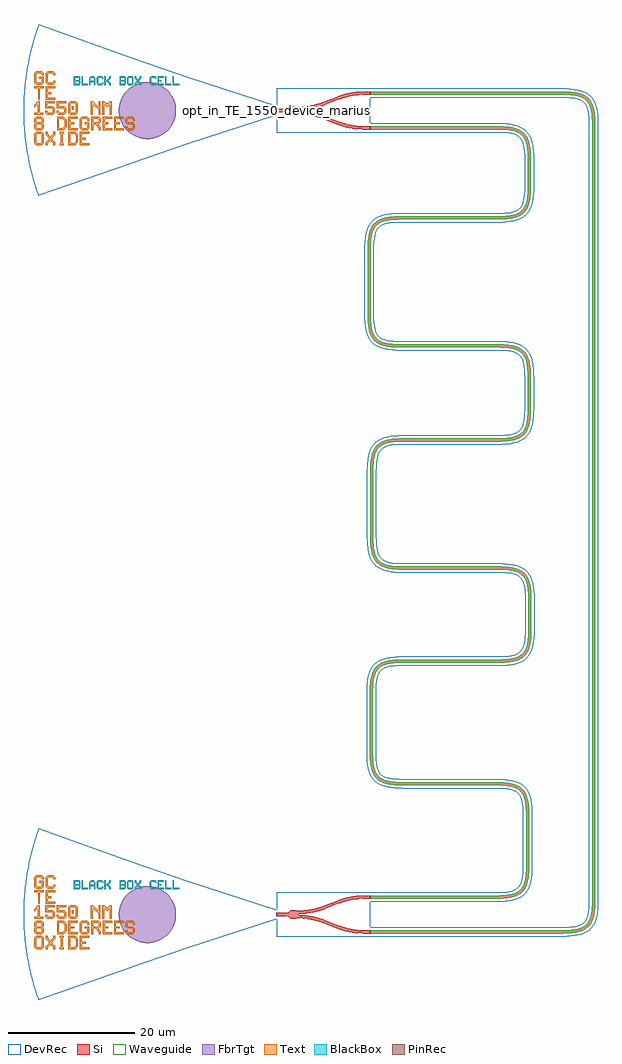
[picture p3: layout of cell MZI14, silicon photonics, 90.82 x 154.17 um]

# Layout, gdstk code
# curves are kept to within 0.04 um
import gdstk
lib = gdstk.Library(unit=1e-6, precision=1e-09)
def R(c, l, rs):  # rectangles x0, y0, x1, y1
    for r in rs: c.add(gdstk.rectangle(r[:2], r[2:], *l))
def P(c, l, *ps):  # polygons
    for p in ps: c.add(gdstk.Polygon(p, *l))
Si = (1, 0)
PinRec = (1, 10)
Waveguide = (1, 99)
Text = (10, 0)
DevRec = (68, 0)
FbrTgt = (81, 0)
BlackBox = (998, 0)

text_1 = lib.new_cell('TEXT$1')
P(text_1, BlackBox, [(0,0),(0,1.4),(0.8,1.4),(1,1.2),(0.2,1.2),(0.2,0.8),(0.7,0.8),(0.8,0.9),(0.8,1.1),(0.7,1.2),(1,1.2),(1,0.8),(0.9,0.7),(1,0.6),(0.2,0.6),(0.2,0.2),(0.7,0.2),(0.8,0.3),(0.8,0.5),(0.7,0.6),(1,0.6),(1,0.2),(0.8,0)],
  [(1.2,0),(1.2,1.4),(1.4,1.4),(1.4,0.2),(2.2,0.2),(2.2,0)],
  [(2.4,0),(2.4,1.1),(2.7,1.4),(3.1,1.4),(3.3,1.2),(2.8,1.2),(2.6,1),(2.6,0.7),(3.2,0.7),(3.2,1),(3,1.2),(3.3,1.2),(3.4,1.1),(3.4,0),(3.2,0),(3.2,0.5),(2.6,0.5),(2.6,0)],
  [(3.8,0),(3.6,0.2),(3.6,1.2),(3.8,1.4),(4.4,1.4),(4.6,1.2),(4.6,1),(4.4,1),(4.4,1.1),(4.3,1.2),(3.9,1.2),(3.8,1.1),(3.8,0.3),(3.9,0.2),(4.3,0.2),(4.4,0.3),(4.4,0.4),(4.6,0.4),(4.6,0.2),(4.4,0)],
  [(4.8,0),(4.8,1.4),(5,1.4),(5,0.8),(5.2,0.8),(5.6,1.2),(5.6,1.4),(5.8,1.4),(5.8,1.1),(5.4,0.7),(5.8,0.3),(5.8,0),(5.6,0),(5.6,0.2),(5.2,0.6),(5,0.6),(5,0)],
  [(7.2,0),(7.2,1.4),(8,1.4),(8.2,1.2),(7.4,1.2),(7.4,0.8),(7.9,0.8),(8,0.9),(8,1.1),(7.9,1.2),(8.2,1.2),(8.2,0.8),(8.1,0.7),(8.2,0.6),(7.4,0.6),(7.4,0.2),(7.9,0.2),(8,0.3),(8,0.5),(7.9,0.6),(8.2,0.6),(8.2,0.2),(8,0)],
  [(8.6,0),(8.4,0.2),(8.4,1.2),(8.6,1.4),(9.2,1.4),(9.4,1.2),(9.4,0.7),(9.2,0.7),(9.2,1.1),(9.1,1.2),(8.7,1.2),(8.6,1.1),(8.6,0.3),(8.7,0.2),(9.1,0.2),(9.2,0.3),(9.2,0.7),(9.4,0.7),(9.4,0.2),(9.2,0)],
  [(9.6,0),(9.6,0.3),(9.9,0.6),(9.9,0.8),(9.6,1.1),(9.6,1.4),(9.8,1.4),(9.8,1.2),(10.1,0.9),(10.4,1.2),(10.4,1.4),(10.6,1.4),(10.6,1.1),(10.3,0.8),(10.3,0.6),(10.6,0.3),(10.6,0),(10.4,0),(10.4,0.2),(10.1,0.5),(9.8,0.2),(9.8,0)],
  [(12.2,0),(12,0.2),(12,1.2),(12.2,1.4),(12.8,1.4),(13,1.2),(13,1),(12.8,1),(12.8,1.1),(12.7,1.2),(12.3,1.2),(12.2,1.1),(12.2,0.3),(12.3,0.2),(12.7,0.2),(12.8,0.3),(12.8,0.4),(13,0.4),(13,0.2),(12.8,0)],
  [(13.2,0),(13.2,1.4),(14.2,1.4),(14.2,1.2),(13.4,1.2),(13.4,0.8),(13.8,0.8),(13.8,0.6),(13.4,0.6),(13.4,0.2),(14.2,0.2),(14.2,0)],
  [(14.4,0),(14.4,1.4),(14.6,1.4),(14.6,0.2),(15.4,0.2),(15.4,0)],
  [(15.6,0),(15.6,1.4),(15.8,1.4),(15.8,0.2),(16.6,0.2),(16.6,0)])

gc_te_1550_8degoxide_bb = lib.new_cell('GC_TE_1550_8degOxide_BB')
R(gc_te_1550_8degoxide_bb, Text, [(-32.313,0.092,-32.013,0.692)])
P(gc_te_1550_8degoxide_bb, Text, [(-37.67,1.71),(-37.67,3.51),(-38.27,3.51),(-38.27,3.81),(-36.77,3.81),(-36.77,3.51),(-37.37,3.51),(-37.37,1.71)],
  [(-37.97,-5.49),(-38.27,-5.19),(-38.27,-3.69),(-37.97,-3.39),(-37.07,-3.39),(-36.77,-3.69),(-36.77,-4.44),(-37.07,-4.44),(-37.07,-3.84),(-37.22,-3.69),(-37.82,-3.69),(-37.97,-3.84),(-37.97,-5.04),(-37.82,-5.19),(-37.22,-5.19),(-37.07,-5.04),(-37.07,-4.44),(-36.77,-4.44),(-36.77,-5.19),(-37.07,-5.49)],
  [(-31.07,-5.49),(-31.07,-3.39),(-29.57,-3.39),(-29.57,-3.69),(-30.77,-3.69),(-30.77,-4.29),(-30.17,-4.29),(-30.17,-4.59),(-30.77,-4.59),(-30.77,-5.19),(-29.57,-5.19),(-29.57,-5.49)],
  [(-32.87,-3.09),(-32.87,-0.99),(-31.37,-0.99),(-31.37,-1.29),(-32.57,-1.29),(-32.57,-1.89),(-31.97,-1.89),(-31.97,-2.19),(-32.57,-2.19),(-32.57,-2.79),(-31.37,-2.79),(-31.37,-3.09)],
  [(-27.47,-3.09),(-27.47,-0.99),(-25.97,-0.99),(-25.97,-1.29),(-27.17,-1.29),(-27.17,-1.89),(-26.57,-1.89),(-26.57,-2.19),(-27.17,-2.19),(-27.17,-2.79),(-25.97,-2.79),(-25.97,-3.09)],
  [(-25.67,-3.09),(-25.67,-0.99),(-24.17,-0.99),(-24.17,-1.29),(-25.37,-1.29),(-25.37,-1.89),(-24.77,-1.89),(-24.77,-2.19),(-25.37,-2.19),(-25.37,-2.79),(-24.17,-2.79),(-24.17,-3.09)],
  [(-36.47,1.71),(-36.47,3.81),(-34.97,3.81),(-34.97,3.51),(-36.17,3.51),(-36.17,2.91),(-35.57,2.91),(-35.57,2.61),(-36.17,2.61),(-36.17,2.01),(-34.97,2.01),(-34.97,1.71)],
  [(-29.313,-0.658),(-29.313,1.442),(-29.013,1.442),(-28.263,0.692),(-28.113,0.692),(-28.113,1.442),(-27.813,1.442),(-27.813,-0.658),(-28.113,-0.658),(-28.113,0.092),(-28.863,0.842),(-29.013,0.842),(-29.013,-0.658)],
  [(-34.22,-5.49),(-34.22,-5.19),(-34.07,-5.19),(-34.07,-3.69),(-34.22,-3.69),(-34.22,-3.39),(-33.62,-3.39),(-33.62,-3.69),(-33.77,-3.69),(-33.77,-5.19),(-33.62,-5.19),(-33.62,-5.49)],
  [(-36.17,4.11),(-36.47,4.41),(-36.47,5.91),(-36.17,6.21),(-35.27,6.21),(-34.97,5.91),(-34.97,5.61),(-35.27,5.61),(-35.27,5.76),(-35.42,5.91),(-36.02,5.91),(-36.17,5.76),(-36.17,4.56),(-36.02,4.41),(-35.42,4.41),(-35.27,4.56),(-35.27,4.71),(-34.97,4.71),(-34.97,4.41),(-35.27,4.11)],
  [(-27.513,-0.658),(-27.513,1.442),(-27.213,1.442),(-26.913,1.142),(-26.613,1.142),(-26.313,1.442),(-26.013,1.442),(-26.013,-0.658),(-26.313,-0.658),(-26.313,0.842),(-26.463,0.842),(-26.763,0.542),(-27.063,0.842),(-27.213,0.842),(-27.213,-0.658)],
  [(-32.613,-0.658),(-32.913,-0.358),(-32.913,1.142),(-32.613,1.442),(-31.713,1.442),(-31.413,1.142),(-32.463,1.142),(-32.613,0.992),(-32.613,-0.208),(-32.463,-0.358),(-31.863,-0.358),(-31.713,-0.208),(-31.713,0.992),(-31.863,1.142),(-31.413,1.142),(-31.413,-0.358),(-31.713,-0.658)],
  [(-32.87,-5.49),(-32.87,-3.39),(-31.82,-3.39),(-31.52,-3.69),(-32.57,-3.69),(-32.57,-5.19),(-31.97,-5.19),(-31.67,-4.89),(-31.67,-3.99),(-31.97,-3.69),(-31.52,-3.69),(-31.37,-3.84),(-31.37,-5.04),(-31.82,-5.49)],
  [(-34.67,-3.09),(-34.67,-0.99),(-33.62,-0.99),(-33.32,-1.29),(-34.37,-1.29),(-34.37,-2.79),(-33.77,-2.79),(-33.47,-2.49),(-33.47,-1.59),(-33.77,-1.29),(-33.32,-1.29),(-33.17,-1.44),(-33.17,-2.64),(-33.62,-3.09)],
  [(-23.57,-3.09),(-23.87,-2.79),(-23.87,-2.49),(-23.57,-2.49),(-23.57,-2.64),(-23.42,-2.79),(-22.82,-2.79),(-22.67,-2.64),(-22.67,-2.34),(-22.82,-2.19),(-23.57,-2.19),(-23.87,-1.89),(-23.87,-1.29),(-23.57,-0.99),(-22.67,-0.99),(-22.37,-1.29),(-22.37,-1.59),(-22.67,-1.59),(-22.67,-1.44),(-22.82,-1.29),(-23.42,-1.29),(-23.57,-1.44),(-23.57,-1.74),(-23.42,-1.89),(-22.67,-1.89),(-22.37,-2.19),(-22.37,-2.79),(-22.67,-3.09)],
  [(-36.213,-0.658),(-36.513,-0.358),(-36.513,-0.058),(-36.213,-0.058),(-36.213,-0.208),(-36.063,-0.358),(-35.463,-0.358),(-35.313,-0.208),(-35.313,0.242),(-35.463,0.392),(-36.513,0.392),(-36.513,1.442),(-35.013,1.442),(-35.013,1.142),(-36.213,1.142),(-36.213,0.692),(-35.313,0.692),(-35.013,0.392),(-35.013,-0.358),(-35.313,-0.658)],
  [(-34.413,-0.658),(-34.713,-0.358),(-34.713,-0.058),(-34.413,-0.058),(-34.413,-0.208),(-34.263,-0.358),(-33.663,-0.358),(-33.513,-0.208),(-33.513,0.242),(-33.663,0.392),(-34.713,0.392),(-34.713,1.442),(-33.213,1.442),(-33.213,1.142),(-34.413,1.142),(-34.413,0.692),(-33.513,0.692),(-33.213,0.392),(-33.213,-0.358),(-33.513,-0.658)],
  [(-37.97,-3.09),(-38.27,-2.79),(-38.27,-2.19),(-38.12,-2.04),(-38.27,-1.89),(-38.27,-1.29),(-37.97,-0.99),(-37.07,-0.99),(-36.77,-1.29),(-37.82,-1.29),(-37.97,-1.44),(-37.97,-1.74),(-37.82,-1.89),(-37.22,-1.89),(-37.07,-1.74),(-37.07,-1.44),(-37.22,-1.29),(-36.77,-1.29),(-36.77,-1.89),(-36.92,-2.04),(-36.77,-2.19),(-37.82,-2.19),(-37.97,-2.34),(-37.97,-2.64),(-37.82,-2.79),(-37.22,-2.79),(-37.07,-2.64),(-37.07,-2.34),(-37.22,-2.19),(-36.77,-2.19),(-36.77,-2.79),(-37.07,-3.09)],
  [(-38.313,-0.658),(-38.313,-0.358),(-37.713,-0.358),(-37.713,0.842),(-37.863,0.842),(-38.163,0.542),(-38.313,0.542),(-38.313,0.842),(-37.713,1.442),(-37.413,1.442),(-37.413,-0.358),(-36.813,-0.358),(-36.813,-0.658)],
  [(-36.47,-5.49),(-36.47,-5.04),(-36.02,-4.59),(-36.02,-4.29),(-36.47,-3.84),(-36.47,-3.39),(-36.17,-3.39),(-36.17,-3.69),(-35.72,-4.14),(-35.27,-3.69),(-35.27,-3.39),(-34.97,-3.39),(-34.97,-3.84),(-35.42,-4.29),(-35.42,-4.59),(-34.97,-5.04),(-34.97,-5.49),(-35.27,-5.49),(-35.27,-5.19),(-35.72,-4.74),(-36.17,-5.19),(-36.17,-5.49)],
  [(-30.77,-3.09),(-31.07,-2.79),(-31.07,-1.29),(-30.77,-0.99),(-29.87,-0.99),(-29.57,-1.29),(-29.57,-1.59),(-29.87,-1.59),(-29.87,-1.44),(-30.02,-1.29),(-30.62,-1.29),(-30.77,-1.44),(-30.77,-2.64),(-30.62,-2.79),(-30.02,-2.79),(-29.87,-2.64),(-29.87,-2.19),(-30.32,-2.19),(-30.32,-1.89),(-29.57,-1.89),(-29.57,-2.79),(-29.87,-3.09)],
  [(-37.97,4.11),(-38.27,4.41),(-38.27,5.91),(-37.97,6.21),(-37.07,6.21),(-36.77,5.91),(-36.77,5.61),(-37.07,5.61),(-37.07,5.76),(-37.22,5.91),(-37.82,5.91),(-37.97,5.76),(-37.97,4.56),(-37.82,4.41),(-37.22,4.41),(-37.07,4.56),(-37.07,5.01),(-37.52,5.01),(-37.52,5.31),(-36.77,5.31),(-36.77,4.41),(-37.07,4.11)],
  [(-29.27,-3.09),(-29.27,-0.99),(-28.07,-0.99),(-27.77,-1.29),(-28.97,-1.29),(-28.97,-1.89),(-28.22,-1.89),(-28.07,-1.74),(-28.07,-1.44),(-28.22,-1.29),(-27.77,-1.29),(-27.77,-1.89),(-28.07,-2.19),(-28.07,-2.34),(-27.77,-2.64),(-27.77,-3.09),(-28.07,-3.09),(-28.07,-2.79),(-28.67,-2.19),(-28.97,-2.19),(-28.97,-3.09)])
P(gc_te_1550_8degoxide_bb, DevRec, [(-37.607,-13.5),(-38.627,-10.245),(-39.378,-6.832),(-39.647,-5.058),(-39.835,-3.274),(-39.969,0.224),(-39.812,3.541),(-39.331,7.097),(-38.557,10.505),(-37.546,13.669),(-22.8,8.353),(-14.109,5.36),(0,0.75),(0,-0.75),(-14.109,-5.36)])
P(gc_te_1550_8degoxide_bb, FbrTgt, [(-20.621,-4.5),(-21.495,-4.37),(-22.326,-4.073),(-23.084,-3.619),(-23.738,-3.026),(-24.264,-2.316),(-24.642,-1.518),(-24.857,-0.661),(-24.9,0.221),(-24.77,1.095),(-24.473,1.926),(-24.019,2.684),(-23.426,3.338),(-22.716,3.864),(-21.918,4.242),(-21.061,4.457),(-20.179,4.5),(-19.305,4.37),(-18.474,4.073),(-17.716,3.619),(-17.062,3.026),(-16.536,2.316),(-16.158,1.518),(-15.943,0.661),(-15.9,-0.221),(-16.03,-1.095),(-16.327,-1.926),(-16.781,-2.684),(-17.374,-3.338),(-18.084,-3.864),(-18.882,-4.242),(-19.739,-4.457)])
gc_te_1550_8degoxide_bb.add(gdstk.FlexPath([(-0.01,0),(0.01,0)], 0.5, ends="flush", simple_path=True, layer=1, datatype=10))  # PinRec
gc_te_1550_8degoxide_bb.add(gdstk.Reference(text_1, (-32,4)))
gc_te_1550_8degoxide_bb.add(gdstk.Label('opt1', (0,0), layer=1, texttype=10))
gc_te_1550_8degoxide_bb.add(gdstk.Label('Component=GC_TE_1550_8degOxide_BB', (-28,-5), layer=68, texttype=0))

ebeam_y_1550 = lib.new_cell('ebeam_y_1550')
R(ebeam_y_1550, Si, [(6.5,-3,7.4,-2.5), (-7.4,-0.25,-6,0.25), (6.5,2.5,7.4,3)])
P(ebeam_y_1550, Si, [(6.458,-3),(6.237,-2.997),(6.237,-2.497),(6.5,-2.5),(6.5,-3)],
  [(5.033,-2.908),(3.59,-2.634),(2.265,-2.21),(2.445,-1.744),(3.731,-2.154),(5.033,-2.404)],
  [(6.233,-2.997),(5.033,-2.908),(5.033,-2.404),(6.237,-2.497)],
  [(2.265,-2.21),(0.055,-1.356),(0.235,-0.89),(2.445,-1.744)],
  [(-0.762,-1.076),(-2.334,-0.724),(-4,-0.6),(-4,-0.1),(-2.381,-0.212),(-0.762,-0.555)],
  [(0.055,-1.356),(-0.762,-1.076),(-0.762,-0.555),(0.235,-0.89)],
  [(6.237,2.497),(6.237,2.997),(6.5,3),(6.5,2.5)],
  [(2.445,1.744),(2.267,2.211),(3.59,2.634),(5.033,2.908),(5.033,2.404),(3.731,2.154)],
  [(5.033,2.404),(5.033,2.908),(6.237,2.997),(6.237,2.497)],
  [(0.235,0.89),(0.055,1.356),(2.265,2.21),(2.445,1.744)],
  [(-4,0.1),(-4,0.6),(-2.334,0.724),(-0.762,1.076),(-0.762,0.555),(-2.381,0.212)],
  [(-0.762,0.555),(-0.762,1.076),(0.055,1.356),(0.235,0.89)],
  [(-5.122,-0.662),(-5.442,-0.374),(-5.808,-0.255),(-6,-0.25),(-6,0.25),(-5.817,0.253),(-5.442,0.374),(-5.122,0.662)],
  [(-4.957,-0.703),(-5.122,-0.662),(-5.122,0.662),(-4.538,0.703),(-4,0.6),(-4,-0.6),(-4.509,-0.701)])
R(ebeam_y_1550, DevRec, [(-7.4,-3.5,7.4,3.5)])
ebeam_y_1550.add(gdstk.FlexPath([(-7.35,0),(-7.45,0)], 0.5, ends="flush", simple_path=True, layer=1, datatype=10))  # PinRec
ebeam_y_1550.add(gdstk.FlexPath([(7.35,2.75),(7.45,2.75)], 0.5, ends="flush", simple_path=True, layer=1, datatype=10))  # PinRec
ebeam_y_1550.add(gdstk.FlexPath([(7.35,-2.75),(7.45,-2.75)], 0.5, ends="flush", simple_path=True, layer=1, datatype=10))  # PinRec
ebeam_y_1550.add(gdstk.Label('opt2', (7.4,2.75), layer=1, texttype=10))
ebeam_y_1550.add(gdstk.Label('opt3', (7.4,-2.75), layer=1, texttype=10))
ebeam_y_1550.add(gdstk.Label('opt1', (-7.4,0), layer=1, texttype=10))
ebeam_y_1550.add(gdstk.Label('Component=ebeam_y_1550', (-6,1.5), layer=68, texttype=0))
ebeam_y_1550.add(gdstk.Label('Lumerical_INTERCONNECT_library=Design kits/ebeam', (-6.86,-2.19), layer=68, texttype=0))
ebeam_y_1550.add(gdstk.Label('Ref: Y Zhang, Opt. Express, 21/1, 2013', (-7.5,-1), layer=10, texttype=0))

waveguide_21 = lib.new_cell('Waveguide$21')
P(waveguide_21, Si, [(54.769,16),(54.769,16.5),(74.639,16.5),(76.368,16.591),(77.504,16.845),(77.943,17.041),(78.386,17.354),(78.733,17.757),(78.953,18.157),(79.252,19.206),(79.388,21.033),(79.35,30.357),(79.223,31.347),(79.044,32.015),(78.732,32.644),(78.306,33.116),(77.732,33.464),(77.118,33.672),(76.367,33.81),(75.468,33.883),(59.716,33.902),(58.507,33.956),(57.489,34.108),(56.771,34.326),(56.167,34.641),(55.762,34.973),(55.358,35.49),(55.114,35.983),(54.896,36.701),(54.762,37.537),(54.693,38.713),(54.689,48.533),(54.745,49.962),(54.897,50.98),(55.115,51.698),(55.507,52.411),(55.956,52.882),(56.517,53.241),(57.189,53.496),(57.976,53.662),(58.89,53.753),(75.206,53.782),(76.375,53.834),(77.331,53.976),(77.971,54.17),(78.483,54.437),(78.886,54.784),(79.199,55.227),(79.436,55.789),(79.602,56.486),(79.701,57.324),(79.739,58.53),(79.734,63.658),(79.601,65.275),(79.394,66.095),(79.141,66.631),(78.735,67.127),(78.292,67.44),(77.853,67.636),(77.185,67.815),(75.62,67.971),(59.775,67.982),(58.566,68.036),(57.548,68.188),(56.83,68.406),(56.226,68.721),(55.821,69.053),(55.417,69.57),(55.122,70.198),(54.923,70.938),(54.803,71.799),(54.749,73.009),(54.776,84.51),(54.867,85.424),(55.033,86.211),(55.288,86.883),(55.647,87.444),(56.118,87.893),(56.831,88.285),(57.549,88.503),(58.567,88.655),(59.998,88.71),(75.521,88.72),(77.231,88.906),(77.754,89.055),(78.29,89.308),(78.855,89.793),(79.203,90.367),(79.444,91.119),(79.601,92.254),(79.621,99.15),(79.473,100.517),(79.151,101.521),(78.712,102.143),(78.089,102.583),(77.23,102.875),(76.095,103.032),(59.161,103.075),(57.985,103.144),(56.995,103.315),(56.301,103.551),(55.718,103.888),(55.332,104.238),(54.951,104.777),(54.676,105.427),(54.494,106.19),(54.35,108.099),(54.39,119.783),(54.495,120.671),(54.677,121.434),(54.952,122.084),(55.333,122.623),(55.828,123.05),(56.567,123.416),(57.307,123.615),(58.357,123.75),(75.531,123.8),(77.096,123.956),(77.764,124.135),(78.203,124.331),(78.796,124.794),(79.162,125.34),(79.454,126.199),(79.596,127.155),(79.648,128.323),(79.639,133.382),(79.536,134.64),(79.345,135.492),(78.992,136.244),(78.722,136.573),(78.392,136.844),(77.511,137.236),(76.284,137.447),(74.899,137.5),(54.769,137.5),(54.769,138),(75.12,137.999),(77.029,137.855),(78.196,137.52),(78.67,137.26),(79.076,136.927),(79.408,136.522),(79.668,136.048),(80.003,134.881),(80.144,133.188),(80.122,127.491),(80.031,126.577),(79.865,125.79),(79.669,125.243),(79.332,124.66),(78.78,124.108),(78.197,123.771),(77.349,123.498),(76.331,123.346),(74.902,123.29),(58.968,123.281),(57.871,123.2),(57.12,123.062),(56.506,122.854),(56.017,122.571),(55.569,122.123),(55.239,121.522),(55.015,120.737),(54.888,119.747),(54.876,107.299),(55.077,105.841),(55.285,105.227),(55.568,104.738),(55.931,104.355),(56.295,104.111),(56.734,103.915),(57.402,103.736),(58.392,103.609),(59.382,103.572),(75.74,103.553),(76.679,103.476),(77.492,103.326),(78.186,103.09),(78.66,102.83),(79.24,102.304),(79.658,101.618),(79.931,100.77),(80.083,99.752),(80.139,98.323),(80.13,92.813),(80.021,91.497),(79.812,90.567),(79.399,89.689),(78.77,89.028),(77.922,88.585),(76.68,88.305),(74.892,88.21),(59.367,88.201),(58.27,88.12),(57.519,87.982),(56.905,87.774),(56.416,87.491),(55.968,87.043),(55.638,86.442),(55.414,85.657),(55.287,84.667),(55.257,72.599),(55.443,70.889),(55.637,70.249),(55.904,69.737),(56.251,69.334),(56.694,69.021),(57.133,68.825),(57.801,68.646),(58.791,68.519),(59.781,68.482),(75.84,68.463),(76.779,68.386),(77.592,68.236),(78.286,68),(78.76,67.74),(79.255,67.313),(79.699,66.653),(79.994,65.834),(80.165,64.844),(80.237,63.453),(80.235,58.093),(80.166,56.917),(80.032,56.081),(79.865,55.498),(79.637,54.987),(79.072,54.264),(78.65,53.95),(78.157,53.706),(76.953,53.399),(74.992,53.28),(59.308,53.271),(57.598,53.085),(56.958,52.891),(56.446,52.624),(55.974,52.198),(55.626,51.624),(55.385,50.872),(55.243,49.916),(55.189,48.53),(55.193,38.723),(55.354,36.954),(55.533,36.286),(55.729,35.847),(56.042,35.404),(56.445,35.057),(56.957,34.79),(57.597,34.596),(58.553,34.454),(59.722,34.402),(75.688,34.373),(76.602,34.282),(77.389,34.116),(78.061,33.861),(78.622,33.502),(79.071,33.031),(79.463,32.318),(79.713,31.443),(79.848,30.393),(79.888,21.029),(79.744,19.12),(79.562,18.357),(79.35,17.828),(79.072,17.37),(78.722,16.984),(78.3,16.67),(77.807,16.426),(77.243,16.245),(76.43,16.095),(74.642,16)])
P(waveguide_21, Waveguide, [(54.769,16),(54.769,16.5),(74.639,16.5),(76.368,16.591),(77.504,16.845),(77.943,17.041),(78.386,17.354),(78.733,17.757),(78.953,18.157),(79.252,19.206),(79.388,21.033),(79.35,30.357),(79.223,31.347),(79.044,32.015),(78.732,32.644),(78.306,33.116),(77.732,33.464),(77.118,33.672),(76.367,33.81),(75.468,33.883),(59.716,33.902),(58.507,33.956),(57.489,34.108),(56.771,34.326),(56.167,34.641),(55.762,34.973),(55.358,35.49),(55.114,35.983),(54.896,36.701),(54.762,37.537),(54.693,38.713),(54.689,48.533),(54.745,49.962),(54.897,50.98),(55.115,51.698),(55.507,52.411),(55.956,52.882),(56.517,53.241),(57.189,53.496),(57.976,53.662),(58.89,53.753),(75.206,53.782),(76.375,53.834),(77.331,53.976),(77.971,54.17),(78.483,54.437),(78.886,54.784),(79.199,55.227),(79.436,55.789),(79.602,56.486),(79.701,57.324),(79.739,58.53),(79.734,63.658),(79.601,65.275),(79.394,66.095),(79.141,66.631),(78.735,67.127),(78.292,67.44),(77.853,67.636),(77.185,67.815),(75.62,67.971),(59.775,67.982),(58.566,68.036),(57.548,68.188),(56.83,68.406),(56.226,68.721),(55.821,69.053),(55.417,69.57),(55.122,70.198),(54.923,70.938),(54.803,71.799),(54.749,73.009),(54.776,84.51),(54.867,85.424),(55.033,86.211),(55.288,86.883),(55.647,87.444),(56.118,87.893),(56.831,88.285),(57.549,88.503),(58.567,88.655),(59.998,88.71),(75.521,88.72),(77.231,88.906),(77.754,89.055),(78.29,89.308),(78.855,89.793),(79.203,90.367),(79.444,91.119),(79.601,92.254),(79.621,99.15),(79.473,100.517),(79.151,101.521),(78.712,102.143),(78.089,102.583),(77.23,102.875),(76.095,103.032),(59.161,103.075),(57.985,103.144),(56.995,103.315),(56.301,103.551),(55.718,103.888),(55.332,104.238),(54.951,104.777),(54.676,105.427),(54.494,106.19),(54.35,108.099),(54.39,119.783),(54.495,120.671),(54.677,121.434),(54.952,122.084),(55.333,122.623),(55.828,123.05),(56.567,123.416),(57.307,123.615),(58.357,123.75),(75.531,123.8),(77.096,123.956),(77.764,124.135),(78.203,124.331),(78.796,124.794),(79.162,125.34),(79.454,126.199),(79.596,127.155),(79.648,128.323),(79.639,133.382),(79.536,134.64),(79.345,135.492),(78.992,136.244),(78.722,136.573),(78.392,136.844),(77.511,137.236),(76.284,137.447),(74.899,137.5),(54.769,137.5),(54.769,138),(75.12,137.999),(77.029,137.855),(78.196,137.52),(78.67,137.26),(79.076,136.927),(79.408,136.522),(79.668,136.048),(80.003,134.881),(80.144,133.188),(80.122,127.491),(80.031,126.577),(79.865,125.79),(79.669,125.243),(79.332,124.66),(78.78,124.108),(78.197,123.771),(77.349,123.498),(76.331,123.346),(74.902,123.29),(58.968,123.281),(57.871,123.2),(57.12,123.062),(56.506,122.854),(56.017,122.571),(55.569,122.123),(55.239,121.522),(55.015,120.737),(54.888,119.747),(54.876,107.299),(55.077,105.841),(55.285,105.227),(55.568,104.738),(55.931,104.355),(56.295,104.111),(56.734,103.915),(57.402,103.736),(58.392,103.609),(59.382,103.572),(75.74,103.553),(76.679,103.476),(77.492,103.326),(78.186,103.09),(78.66,102.83),(79.24,102.304),(79.658,101.618),(79.931,100.77),(80.083,99.752),(80.139,98.323),(80.13,92.813),(80.021,91.497),(79.812,90.567),(79.399,89.689),(78.77,89.028),(77.922,88.585),(76.68,88.305),(74.892,88.21),(59.367,88.201),(58.27,88.12),(57.519,87.982),(56.905,87.774),(56.416,87.491),(55.968,87.043),(55.638,86.442),(55.414,85.657),(55.287,84.667),(55.257,72.599),(55.443,70.889),(55.637,70.249),(55.904,69.737),(56.251,69.334),(56.694,69.021),(57.133,68.825),(57.801,68.646),(58.791,68.519),(59.781,68.482),(75.84,68.463),(76.779,68.386),(77.592,68.236),(78.286,68),(78.76,67.74),(79.255,67.313),(79.699,66.653),(79.994,65.834),(80.165,64.844),(80.237,63.453),(80.235,58.093),(80.166,56.917),(80.032,56.081),(79.865,55.498),(79.637,54.987),(79.072,54.264),(78.65,53.95),(78.157,53.706),(76.953,53.399),(74.992,53.28),(59.308,53.271),(57.598,53.085),(56.958,52.891),(56.446,52.624),(55.974,52.198),(55.626,51.624),(55.385,50.872),(55.243,49.916),(55.189,48.53),(55.193,38.723),(55.354,36.954),(55.533,36.286),(55.729,35.847),(56.042,35.404),(56.445,35.057),(56.957,34.79),(57.597,34.596),(58.553,34.454),(59.722,34.402),(75.688,34.373),(76.602,34.282),(77.389,34.116),(78.061,33.861),(78.622,33.502),(79.071,33.031),(79.463,32.318),(79.713,31.443),(79.848,30.393),(79.888,21.029),(79.744,19.12),(79.562,18.357),(79.35,17.828),(79.072,17.37),(78.722,16.984),(78.3,16.67),(77.807,16.426),(77.243,16.245),(76.43,16.095),(74.642,16)])
P(waveguide_21, DevRec, [(54.769,15.5),(54.769,17),(74.639,17),(76.384,17.098),(77.215,17.276),(77.535,17.396),(78.015,17.693),(78.197,17.875),(78.494,18.355),(78.714,19.057),(78.847,20.02),(78.889,21.251),(78.878,29.8),(78.791,30.895),(78.613,31.726),(78.353,32.309),(78.014,32.708),(77.534,33.005),(76.832,33.225),(75.288,33.39),(59.237,33.411),(57.986,33.512),(56.911,33.746),(55.988,34.162),(55.589,34.453),(55.241,34.801),(54.716,35.641),(54.534,36.123),(54.3,37.198),(54.189,39.149),(54.189,48.543),(54.236,49.881),(54.399,51.04),(54.717,52.04),(55.242,52.88),(55.59,53.228),(55.989,53.519),(56.912,53.935),(57.43,54.071),(58.589,54.234),(59.939,54.28),(74.989,54.28),(76.22,54.323),(77.183,54.456),(78.148,54.816),(78.547,55.155),(78.844,55.635),(79.142,56.786),(79.239,58.531),(79.239,63.23),(79.141,64.975),(78.843,66.126),(78.546,66.606),(78.147,66.945),(77.182,67.305),(75.638,67.47),(59.296,67.491),(58.045,67.592),(56.97,67.826),(56.047,68.242),(55.648,68.533),(55.3,68.881),(54.775,69.721),(54.593,70.203),(54.359,71.278),(54.248,73.229),(54.248,83.473),(54.295,84.811),(54.458,85.97),(54.594,86.488),(55.01,87.411),(55.301,87.81),(55.649,88.158),(56.489,88.683),(57.489,89.001),(58.648,89.164),(59.998,89.21),(75.539,89.221),(77.083,89.386),(78.048,89.746),(78.447,90.085),(78.744,90.565),(78.964,91.267),(79.097,92.23),(79.128,98.97),(79.041,100.065),(78.743,101.216),(78.446,101.696),(78.264,101.878),(77.784,102.175),(77.082,102.395),(76.119,102.528),(58.897,102.581),(57.646,102.682),(56.571,102.916),(55.648,103.332),(55.249,103.623),(54.901,103.971),(54.376,104.811),(54.194,105.293),(53.96,106.368),(53.849,108.319),(53.849,118.553),(53.896,119.891),(54.059,121.05),(54.195,121.568),(54.611,122.491),(54.902,122.89),(55.25,123.238),(56.09,123.763),(57.09,124.081),(58.249,124.244),(59.599,124.29),(75.549,124.301),(76.644,124.388),(77.795,124.686),(78.275,124.983),(78.457,125.165),(78.754,125.645),(78.974,126.347),(79.107,127.31),(79.138,133.4),(79.051,134.495),(78.873,135.326),(78.613,135.909),(78.456,136.126),(78.057,136.465),(77.092,136.825),(76.129,136.958),(54.769,137),(54.769,138.5),(74.899,138.5),(76.249,138.454),(77.408,138.291),(78.408,137.973),(79.248,137.448),(79.887,136.701),(80.121,136.26),(80.439,135.26),(80.638,133.452),(80.639,127.839),(80.44,126.031),(80.122,125.031),(79.888,124.59),(79.249,123.843),(78.409,123.318),(77.409,123),(76.25,122.837),(74.912,122.79),(58.95,122.78),(57.406,122.615),(56.441,122.255),(56.042,121.916),(55.745,121.436),(55.525,120.734),(55.392,119.771),(55.349,118.54),(55.391,107.09),(55.624,105.745),(55.744,105.425),(56.041,104.945),(56.223,104.763),(56.703,104.466),(57.854,104.168),(59.599,104.07),(75.59,104.06),(77.398,103.861),(78.398,103.543),(78.839,103.309),(79.238,103.018),(79.877,102.271),(80.293,101.348),(80.527,100.273),(80.639,98.333),(80.629,92.759),(80.528,91.508),(80.294,90.433),(79.878,89.51),(79.239,88.763),(78.399,88.238),(77.917,88.056),(76.842,87.822),(74.902,87.71),(59.349,87.7),(57.805,87.535),(57.103,87.315),(56.623,87.018),(56.284,86.619),(56.024,86.036),(55.791,84.691),(55.758,72.581),(55.923,71.037),(56.283,70.072),(56.44,69.855),(56.839,69.516),(57.804,69.156),(58.767,69.023),(59.998,68.98),(75.69,68.97),(77.498,68.771),(78.498,68.453),(78.939,68.219),(79.338,67.928),(79.977,67.181),(80.393,66.258),(80.627,65.183),(80.728,63.932),(80.739,58.529),(80.693,57.18),(80.53,56.021),(80.212,55.021),(79.978,54.58),(79.339,53.833),(78.499,53.308),(78.017,53.126),(76.942,52.892),(75.002,52.78),(59.29,52.77),(57.746,52.605),(56.781,52.245),(56.382,51.906),(56.085,51.426),(55.865,50.724),(55.732,49.761),(55.699,38.501),(55.864,36.957),(56.224,35.992),(56.381,35.775),(56.78,35.436),(57.745,35.076),(58.708,34.943),(59.939,34.9),(74.639,34.9),(75.989,34.854),(77.148,34.691),(77.666,34.555),(78.589,34.139),(78.988,33.848),(79.336,33.5),(79.861,32.66),(80.179,31.66),(80.342,30.501),(80.389,29.163),(80.389,21.249),(80.343,19.9),(80.18,18.741),(79.862,17.741),(79.628,17.3),(78.989,16.553),(78.149,16.028),(77.667,15.846),(76.592,15.612),(74.652,15.5)])
waveguide_21.add(gdstk.FlexPath([(54.779,137.75),(54.759,137.75)], 0.5, ends="flush", simple_path=True, layer=1, datatype=10))  # PinRec
waveguide_21.add(gdstk.FlexPath([(54.779,16.25),(54.759,16.25)], 0.5, ends="flush", simple_path=True, layer=1, datatype=10))  # PinRec
waveguide_21.add(gdstk.Label('opt1', (54.769,137.75), layer=1, texttype=10))
waveguide_21.add(gdstk.Label('opt2', (54.769,16.25), layer=1, texttype=10))
waveguide_21.add(gdstk.Label('Lumerical_INTERCONNECT_library=Design kits/EBeam', (54.769,137.65), layer=68, texttype=0))
waveguide_21.add(gdstk.Label('Component=ebeam_wg_integral_1550', (54.769,137.85), layer=68, texttype=0))
waveguide_21.add(gdstk.Label('cellName=Waveguide', (54.769,137.95), layer=68, texttype=0))
waveguide_21.add(gdstk.Label('Length=299.999 (microns)', (54.769,137.15), layer=68, texttype=0))
waveguide_21.add(gdstk.Label('waveguide_type=Strip TE 1550 nm, w=500 nm', (54.769,137.55), layer=68, texttype=0))

waveguide_18 = lib.new_cell('Waveguide$18')
P(waveguide_18, Si, [(54.769,10.5),(54.769,11),(86.278,11.039),(87.551,11.229),(88.165,11.437),(88.565,11.657),(88.894,11.927),(89.165,12.257),(89.385,12.657),(89.593,13.271),(89.768,14.365),(89.821,15.75),(89.821,138.25),(89.767,139.636),(89.592,140.73),(89.384,141.344),(89.164,141.744),(88.894,142.073),(88.564,142.344),(88.164,142.564),(87.55,142.772),(86.277,142.962),(54.769,143),(54.769,143.5),(85.292,143.499),(86.684,143.427),(87.674,143.256),(88.368,143.02),(88.842,142.76),(89.248,142.427),(89.651,141.911),(89.895,141.418),(90.113,140.7),(90.247,139.864),(90.316,138.688),(90.321,15.75),(90.266,14.319),(90.077,13.147),(89.841,12.453),(89.581,11.979),(89.248,11.573),(88.843,11.241),(88.369,10.981),(87.822,10.785),(86.314,10.541)])
P(waveguide_18, Waveguide, [(54.769,10.5),(54.769,11),(86.278,11.039),(87.551,11.229),(88.165,11.437),(88.565,11.657),(88.894,11.927),(89.165,12.257),(89.385,12.657),(89.593,13.271),(89.768,14.365),(89.821,15.75),(89.821,138.25),(89.767,139.636),(89.592,140.73),(89.384,141.344),(89.164,141.744),(88.894,142.073),(88.564,142.344),(88.164,142.564),(87.55,142.772),(86.277,142.962),(54.769,143),(54.769,143.5),(85.292,143.499),(86.684,143.427),(87.674,143.256),(88.368,143.02),(88.842,142.76),(89.248,142.427),(89.651,141.911),(89.895,141.418),(90.113,140.7),(90.247,139.864),(90.316,138.688),(90.321,15.75),(90.266,14.319),(90.077,13.147),(89.841,12.453),(89.581,11.979),(89.248,11.573),(88.843,11.241),(88.369,10.981),(87.822,10.785),(86.314,10.541)])
P(waveguide_18, DevRec, [(54.769,10),(54.769,11.5),(85.071,11.5),(86.302,11.543),(87.265,11.676),(88.23,12.036),(88.447,12.193),(88.786,12.592),(89.146,13.557),(89.279,14.52),(89.321,15.75),(89.321,138.25),(89.223,139.995),(89.045,140.826),(88.925,141.146),(88.628,141.626),(88.446,141.808),(87.966,142.105),(86.815,142.403),(85.72,142.49),(54.769,142.5),(54.769,144),(85.071,144),(86.421,143.954),(87.58,143.791),(88.58,143.473),(89.021,143.239),(89.42,142.948),(90.059,142.201),(90.293,141.76),(90.611,140.76),(90.81,138.952),(90.821,15.75),(90.775,14.4),(90.612,13.241),(90.294,12.241),(90.06,11.8),(89.421,11.053),(89.022,10.762),(88.099,10.346),(87.581,10.21),(86.422,10.047),(85.084,10)])
waveguide_18.add(gdstk.FlexPath([(54.779,143.25),(54.759,143.25)], 0.5, ends="flush", simple_path=True, layer=1, datatype=10))  # PinRec
waveguide_18.add(gdstk.FlexPath([(54.779,10.75),(54.759,10.75)], 0.5, ends="flush", simple_path=True, layer=1, datatype=10))  # PinRec
waveguide_18.add(gdstk.Label('opt1', (54.769,143.25), layer=1, texttype=10))
waveguide_18.add(gdstk.Label('opt2', (54.769,10.75), layer=1, texttype=10))
waveguide_18.add(gdstk.Label('Lumerical_INTERCONNECT_library=Design kits/EBeam', (54.769,143.15), layer=68, texttype=0))
waveguide_18.add(gdstk.Label('Component=ebeam_wg_integral_1550', (54.769,143.35), layer=68, texttype=0))
waveguide_18.add(gdstk.Label('cellName=Waveguide', (54.769,143.45), layer=68, texttype=0))
waveguide_18.add(gdstk.Label('Spice_param:wg_length=0.000200001 wg_width=5e-07 points="[[54.769,143.25],[90.071,143.25],[90.071,10.75],[54.769,10.75]]" radius=5e-06', (54.769,143.25), layer=68, texttype=0))
waveguide_18.add(gdstk.Label('Length=200.001 (microns)', (54.769,142.65), layer=68, texttype=0))
waveguide_18.add(gdstk.Label('waveguide_type=Strip TE 1550 nm, w=500 nm', (54.769,143.05), layer=68, texttype=0))

mzi14 = lib.new_cell('MZI14')
mzi14.add(gdstk.Reference(gc_te_1550_8degoxide_bb, (39.969,13.5)))
mzi14.add(gdstk.Reference(gc_te_1550_8degoxide_bb, (39.969,140.5)))
mzi14.add(gdstk.Reference(ebeam_y_1550, (47.369,140.5)))
mzi14.add(gdstk.Reference(ebeam_y_1550, (47.369,13.5)))
mzi14.add(gdstk.Reference(waveguide_21, (0,0)))
mzi14.add(gdstk.Reference(waveguide_18, (0,0)))
mzi14.add(gdstk.Label('opt_in_TE_1550_device_mariusminnen_MZI14', (39.959,140.5), layer=10, texttype=0))

lib.write_gds('MZI14.gds')
